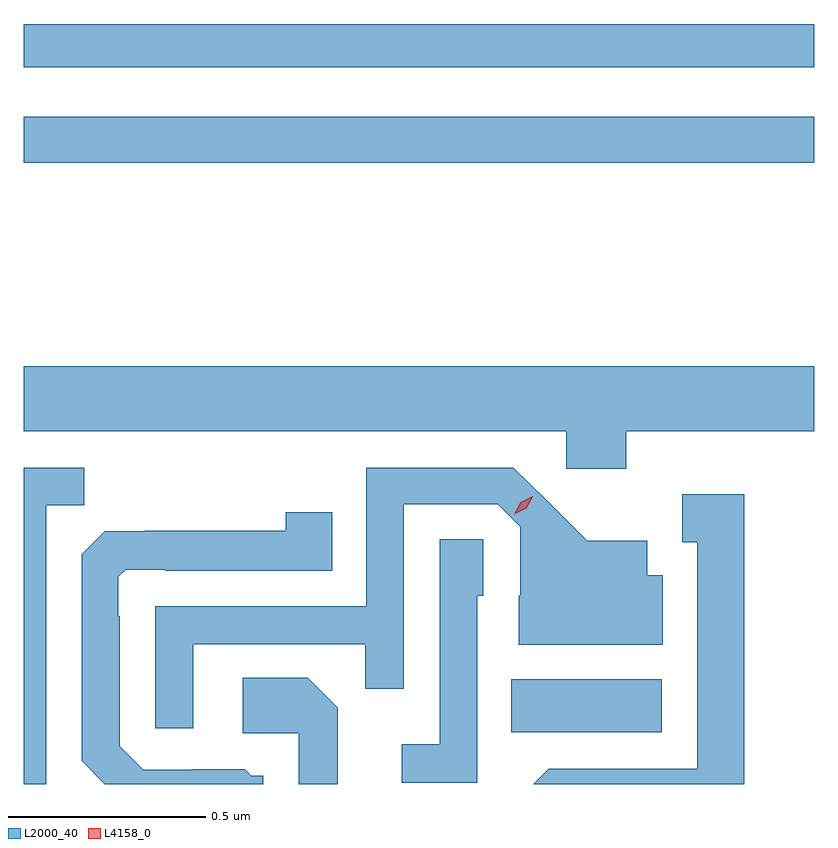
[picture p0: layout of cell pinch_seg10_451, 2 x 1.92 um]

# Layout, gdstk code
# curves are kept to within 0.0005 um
import gdstk
lib = gdstk.Library(unit=1e-6, precision=1e-09)
def R(c, l, rs):  # rectangles x0, y0, x1, y1
    for r in rs: c.add(gdstk.rectangle(r[:2], r[2:], *l))
def P(c, l, *ps):  # polygons
    for p in ps: c.add(gdstk.Polygon(p, *l))
L2000_40 = (2000, 40)
L4158_0 = (4158, 0)

pinch_seg10_451 = lib.new_cell('pinch_seg10_451')
R(pinch_seg10_451, L2000_40, [(366.25,1320.866,366.631,1321), (365.017,1322.308,367.017,1322.424), (365.017,1322.55,367.017,1322.659)])
P(pinch_seg10_451, L2000_40, [(366.542,1321.628),(367.017,1321.628),(367.017,1321.792),(365.017,1321.792),(365.017,1321.628),(366.39,1321.628),(366.39,1321.533),(366.542,1321.533)],
  [(365.073,1321.441),(365.169,1321.441),(365.169,1321.536),(365.017,1321.536),(365.017,1320.735),(365.073,1320.735)],
  [(365.445,1321.089),(365.881,1321.089),(365.881,1320.976),(365.979,1320.976),(365.979,1321.443),(366.216,1321.443),(366.273,1321.386),(366.273,1321.212),(366.269,1321.212),(366.269,1321.088),(366.634,1321.088),(366.634,1321.264),(366.595,1321.264),(366.595,1321.351),(366.443,1321.351),(366.256,1321.536),(365.883,1321.536),(365.883,1321.185),(365.349,1321.185),(365.349,1320.876),(365.445,1320.876)],
  [(366.841,1321.468),(366.683,1321.468),(366.683,1321.347),(366.722,1321.347),(366.722,1320.774),(366.345,1320.774),(366.306,1320.735),(366.841,1320.735)],
  [(365.623,1320.756),(365.592,1320.756),(365.576,1320.772),(365.442,1320.772),(365.442,1320.771),(365.319,1320.771),(365.259,1320.831),(365.259,1321.16),(365.256,1321.16),(365.256,1321.26),(365.274,1321.278),(365.374,1321.278),(365.374,1321.275),(365.798,1321.275),(365.798,1321.423),(365.68,1321.423),(365.68,1321.376),(365.323,1321.376),(365.323,1321.375),(365.222,1321.375),(365.163,1321.316),(365.163,1320.794),(365.222,1320.735),(365.623,1320.735)],
  [(366.165,1321.212),(366.18,1321.212),(366.18,1321.355),(366.069,1321.355),(366.069,1320.835),(365.973,1320.835),(365.973,1320.738),(366.165,1320.738)],
  [(365.811,1320.928),(365.735,1321.004),(365.571,1321.004),(365.571,1320.864),(365.712,1320.864),(365.712,1320.735),(365.811,1320.735)])
P(pinch_seg10_451, L4158_0, [(366.258,1321.418),(366.258,1321.418),(366.275,1321.448),(366.305,1321.463),(366.305,1321.463),(366.305,1321.462),(366.288,1321.433),(366.258,1321.418)])

lib.write_gds('pinch_seg10_451.gds')
